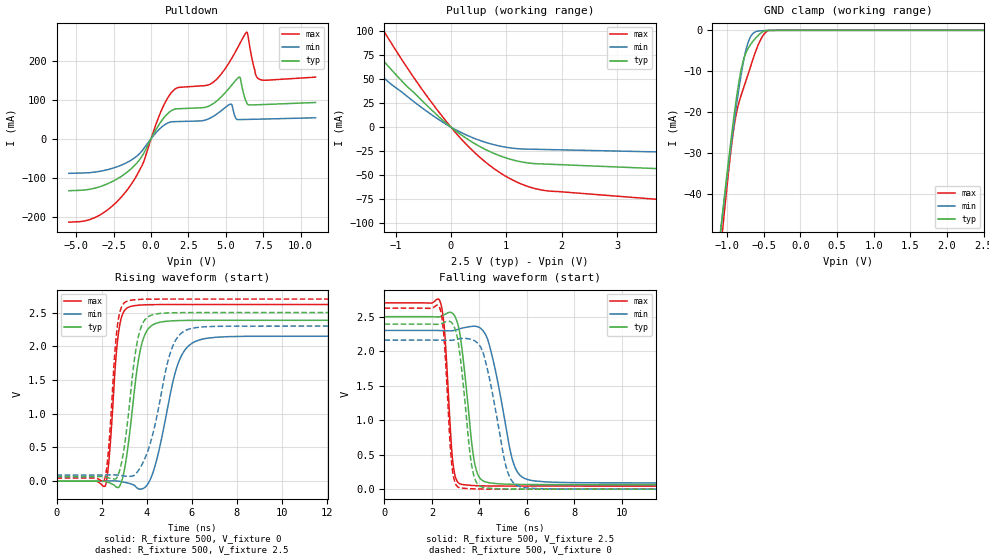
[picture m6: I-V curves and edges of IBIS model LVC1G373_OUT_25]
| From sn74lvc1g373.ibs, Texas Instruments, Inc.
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[Model]   LVC1G373_OUT_25
Model_type  3-state
Enable   Active-Low
Vref =   0
Rref =   500
Cref =   30p
Vmeas =   1.25
| variable   typ   min   max
C_comp   5.47pF   4.63pF   6.47pF
| C_pullup   8.02pF   5.55pF   9.05pF
| C_pulldown   8.86pF   6.15pF   13.06pF
| C_tri-state   5.47pF   4.63pF   6.47pF
[Temperature Range]   40   100   -40
| Ambient temperature   25   85   -40
[Voltage range]   2.5   2.3   2.7
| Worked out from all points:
|   slope of the pulldown table from 0 to 0.375 V, typ, clamps not added: 14.3 ohm
|   slope of the pullup table from 0 to 0.375 V, typ, clamps not added: 24.6 ohm
|   GND clamp passes 1 mA (typ) near -0.56 V on its own axis
|   rising waveform, R_fixture 500, V_fixture 0: 20-80 % time 540ps typ, 843ps min, 332ps max; typ from 0 V to 2.38 V
|   falling waveform, R_fixture 500, V_fixture 2.5: 20-80 % time 446ps typ, 731ps min, 273ps max; typ from 2.5 V to 0.066 V
|   rising waveform, R_fixture 500, V_fixture 2.5: 20-80 % time 526ps typ, 875ps min, 322ps max; typ from 0.066 V to 2.5 V
|   falling waveform, R_fixture 500, V_fixture 0: 20-80 % time 425ps typ, 708ps min, 265ps max; typ from 2.39 V to 0 V
[GND Clamp]
| LVC1G373_OUT_25
|   Voltage   I(typ)   I(min)   I(max)
-5.5V     -897.8mA   -832.4mA   -1.016A
-1.085V   -48.68mA   -48.61mA   -53.3mA
-1.055V   -43.78mA   -44.08mA   -47.81mA
-960mV    -28.9mA    -30.22mA   -31.49mA
-910mV    -21.66mA   -23.34mA   -24.31mA
-860mV    -15.14mA   -16.88mA   -19.23mA
-795mV    -8.582mA   -9.485mA   -15.18mA
-730mV    -5.007mA   -3.989mA   -11.68mA
-680mV    -3.482mA   -1.588mA   -8.92mA
-555mV    -899.1uA   -138.8uA   -2.764mA
-465mV    -17.59uA   -54.37uA   -352.7uA
2.5V      21.23pA    56.56nA    599.5pA
[Pulldown]
| LVC1G373_OUT_25
|   Voltage   I(typ)   I(min)   I(max)
-5.5V     -133.6mA   -89.06mA   -214.3mA
-3.75V    -126.9mA   -85.75mA   -202.3mA
-2.1V     -99.38mA   -69.59mA   -154.4mA
-590mV    -43.93mA   -30.52mA   -67.68mA
1.31V     70.54mA    42.72mA    115.7mA
4.115V    88.71mA    56.03mA    143.4mA
5.335V    134.6mA    88.49mA    202.1mA
5.905V    157.9mA    48.85mA    241.4mA
6.39V     92.54mA    49.21mA    272.9mA
6.98V     86.65mA    49.71mA    165.7mA
7.19V     86.94mA    49.89mA    153.3mA
11V       92.61mA    53.43mA    157.7mA
[Pullup]
| LVC1G373_OUT_25
|   Voltage   I(typ)   I(min)   I(max)
-5.5V     412.2mA    323.3mA    577.1mA
-2.255V   142.7mA    109mA      204.4mA
-2.155V   135.2mA    103.1mA    193.8mA
-1.775V   107.3mA    81.22mA    154.7mA
-1.295V   74.05mA    55.4mA     107.6mA
-1.24V    70.4mA     52.58mA    102.4mA
-365mV    18.75mA    13.57mA    26.85mA
320mV     -13.24mA   -9.199mA   -20.35mA
960mV     -31.31mA   -20.53mA   -49.99mA
1.57V     -38.1mA    -23.07mA   -64.51mA
7.48V     -51.85mA   -30.32mA   -91.87mA
11V       -60.13mA   -34.65mA   -107.9mA
[Ramp]
| LVC1G373_OUT_25
| variable   typ   min   max
dV/dt_r   1.49/5.66E-10   1.36/8.87E-10   1.62/3.50E-10
dV/dt_f   1.50/4.64E-10   1.36/7.59E-10   1.63/2.79E-10
R_load = 500
[Rising Waveform]
| LVC1G373_OUT_25
R_fixture =   500
C_fixture =   0
L_fixture =   0
V_fixture =   0
V_fixture_min = 0
V_fixture_max = 0
|   Time   V(typ)   V(min)   V(max)
0s        133.5pV    5.262nV    1.953nV
2.16ns    -3.751mV   1.12mV     -74.94mV
2.34ns    -23.87mV   2.896mV    364mV
2.76ns    -91.15mV   -1.335mV   2.224V
3.28ns    812.3mV    -39.27mV   2.589V
3.65ns    1.827V     -116.6mV   2.609V
4.015ns   2.233V     -59.98mV   2.616V
5.39ns    2.381V     1.741V     2.619V
6.335ns   2.385V     2.094V     2.619V
24.99ns   2.385V     2.15V      2.619V
[Falling Waveform]
| LVC1G373_OUT_25
R_fixture =   500
C_fixture =   0
L_fixture =   0
V_fixture =   2.5
V_fixture_min = 2.3
V_fixture_max = 2.7
|   Time   V(typ)   V(min)   V(max)
0s        2.5V       2.3V       2.7V
2.34ns    2.499V     2.299V     2.724V
2.525ns   2.528V     2.296V     2.338V
2.88ns    2.546V     2.297V     401.8mV
3.2ns     2.207V     2.327V     74.54mV
3.78ns    416.8mV    2.362V     52.02mV
4.285ns   102.7mV    2.225V     46.98mV
5.4ns     70.39mV    420.9mV    44.93mV
6.02ns    67.51mV    140.8mV    44.76mV
24.99ns   65.57mV    89.97mV    44.64mV
[Rising Waveform]
| LVC1G373_OUT_25
R_fixture =   500
C_fixture =   0
L_fixture =   0
V_fixture =   2.5
V_fixture_min = 2.3
V_fixture_max = 2.7
|   Time   V(typ)   V(min)   V(max)
0s        65.53mV    89.9mV     44.61mV
2.125ns   63.89mV    90.7mV     21.08mV
2.305ns   48.81mV    92.3mV     458.3mV
2.705ns   68.74mV    89.37mV    2.314V
3.175ns   949.6mV    70.41mV    2.673V
3.52ns    1.95V      109.2mV    2.691V
3.865ns   2.365V     296.8mV    2.697V
5.08ns    2.496V     1.934V     2.7V
5.89ns    2.499V     2.256V     2.7V
24.99ns   2.5V       2.3V       2.7V
[Falling Waveform]
| LVC1G373_OUT_25
R_fixture =   500
C_fixture =   0
L_fixture =   0
V_fixture =   0
V_fixture_min = 0
V_fixture_max = 0
|   Time   V(typ)   V(min)   V(max)
0s        2.392V     2.16V      2.623V
2.315ns   2.391V     2.159V     2.641V
2.5ns     2.413V     2.157V     2.253V
2.85ns    2.406V     2.159V     321.7mV
3.18ns    1.957V     2.182V     19.32mV
3.83ns    133.2mV    2.144V     4.135mV
4.295ns   18.45mV    1.803V     1.396mV
5.17ns    3.194mV    274.3mV    271.4uV
5.715ns   1.261mV    35.65mV    133.4uV
24.99ns   32.47uV    50.19uV    21.01uV
